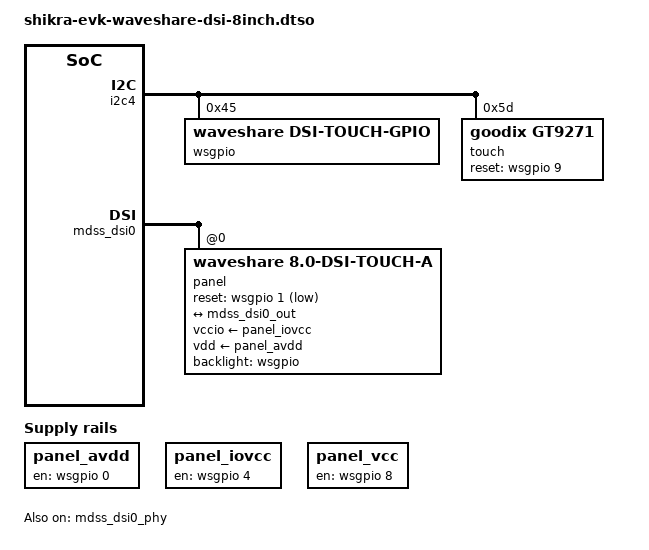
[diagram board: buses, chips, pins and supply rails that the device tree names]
// SPDX-License-Identifier: BSD-3-Clause
/*
 * Copyright (c) Qualcomm Technologies, Inc. and/or its subsidiaries.
 */
/dts-v1/;
/plugin/;

#include <dt-bindings/gpio/gpio.h>

&{/} {
	panel_avdd: regulator-panel-avdd {
		compatible = "regulator-fixed";
		regulator-name = "panel-avdd";
		gpios = <&wsgpio 0 GPIO_ACTIVE_HIGH>;
		enable-active-high;
	};

	panel_iovcc: regulator-panel-iovcc {
		compatible = "regulator-fixed";
		regulator-name = "panel-iovcc";
		gpios = <&wsgpio 4 GPIO_ACTIVE_HIGH>;
		enable-active-high;
	};

	panel_vcc: regulator-panel-vcc {
		compatible = "regulator-fixed";
		regulator-name = "panel-vcc";
		gpios = <&wsgpio 8 GPIO_ACTIVE_HIGH>;
		enable-active-high;
		regulator-always-on;
	};
};

&lt9611uxd {
	status = "disabled";
};

&{/hdmi-connector} {
	status = "disabled";
};

&i2c4 {
	#address-cells = <1>;
	#size-cells = <0>;

	wsgpio: gpio@45 {
		compatible = "waveshare,dsi-touch-gpio";
		reg = <0x45>;
		gpio-controller;
		#gpio-cells = <2>;
	};

	touch: goodix@5d {
		compatible = "goodix,gt9271";
		reg = <0x5d>;
		reset-gpios = <&wsgpio 9 GPIO_ACTIVE_HIGH>;
	};
};

&mdss_dsi0 {
	vdda-supply = <&pm8150_l11>;

	status = "okay";

	#address-cells = <1>;
	#size-cells = <0>;

	panel@0 {
		compatible = "waveshare,8.0-dsi-touch-a", "jadard,jd9365da-h3";
		reg = <0>;

		reset-gpios = <&wsgpio 1 GPIO_ACTIVE_LOW>;
		vccio-supply = <&panel_iovcc>;
		vdd-supply = <&panel_avdd>;
		backlight = <&wsgpio>;

		port {
			panel0_in: endpoint {
				remote-endpoint = <&mdss_dsi0_out>;
			};
		};
	};
};

&mdss_dsi0_out {
	remote-endpoint = <&panel0_in>;
	data-lanes = <0 1 2 3>;
};

&mdss_dsi0_phy {
	status = "okay";
};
